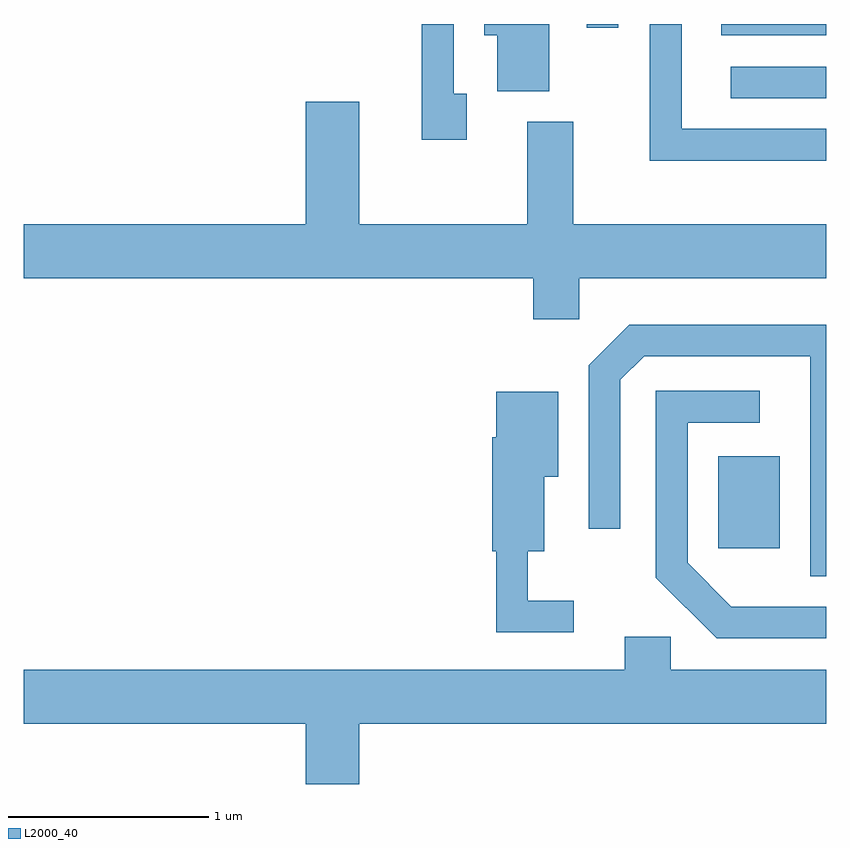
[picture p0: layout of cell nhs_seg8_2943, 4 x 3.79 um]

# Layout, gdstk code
import gdstk
lib = gdstk.Library(unit=1e-6, precision=1e-09)
def R(c, l, rs):  # rectangles x0, y0, x1, y1
    for r in rs: c.add(gdstk.rectangle(r[:2], r[2:], *l))
def P(c, l, *ps):  # polygons
    for p in ps: c.add(gdstk.Polygon(p, *l))
L2000_40 = (2000, 40)

nhs_seg8_2943 = lib.new_cell('nhs_seg8_2943')
R(nhs_seg8_2943, L2000_40, [(277.071,1841.731,277.379,1842.189), (277.133,1843.971,277.611,1844.129), (277.086,1844.286,277.611,1844.342), (276.416,1844.323,276.574,1844.342)])
P(nhs_seg8_2943, L2000_40, [(277.611,1843.819),(276.889,1843.819),(276.889,1844.342),(276.731,1844.342),(276.731,1843.661),(277.611,1843.661)],
  [(276.229,1844.342),(275.906,1844.342),(275.906,1844.286),(275.971,1844.286),(275.971,1844.006),(276.229,1844.006)],
  [(275.819,1843.994),(275.754,1843.994),(275.754,1844.342),(275.596,1844.342),(275.596,1843.766),(275.819,1843.766)],
  [(276.379,1843.076),(277.611,1843.076),(277.611,1843.344),(276.349,1843.344),(276.349,1843.854),(276.121,1843.854),(276.121,1843.344),(275.284,1843.344),(275.284,1843.954),(275.016,1843.954),(275.016,1843.344),(273.611,1843.344),(273.611,1843.076),(276.151,1843.076),(276.151,1842.871),(276.379,1842.871)],
  [(277.611,1842.844),(276.629,1842.844),(276.426,1842.642),(276.426,1841.828),(276.584,1841.828),(276.584,1842.569),(276.702,1842.686),(277.531,1842.686),(277.531,1841.591),(277.611,1841.591)],
  [(277.611,1841.439),(277.137,1841.439),(276.919,1841.657),(276.919,1842.356),(277.278,1842.356),(277.278,1842.514),(276.761,1842.514),(276.761,1841.584),(277.064,1841.281),(277.611,1841.281)],
  [(276.353,1841.469),(276.124,1841.469),(276.124,1841.716),(276.204,1841.716),(276.204,1842.086),(276.274,1842.086),(276.274,1842.509),(275.966,1842.509),(275.966,1842.284),(275.946,1842.284),(275.946,1841.716),(275.966,1841.716),(275.966,1841.311),(276.353,1841.311)],
  [(275.284,1840.856),(277.611,1840.856),(277.611,1841.124),(276.834,1841.124),(276.834,1841.289),(276.606,1841.289),(276.606,1841.124),(273.611,1841.124),(273.611,1840.856),(275.016,1840.856),(275.016,1840.556),(275.284,1840.556)])

lib.write_gds('nhs_seg8_2943.gds')
